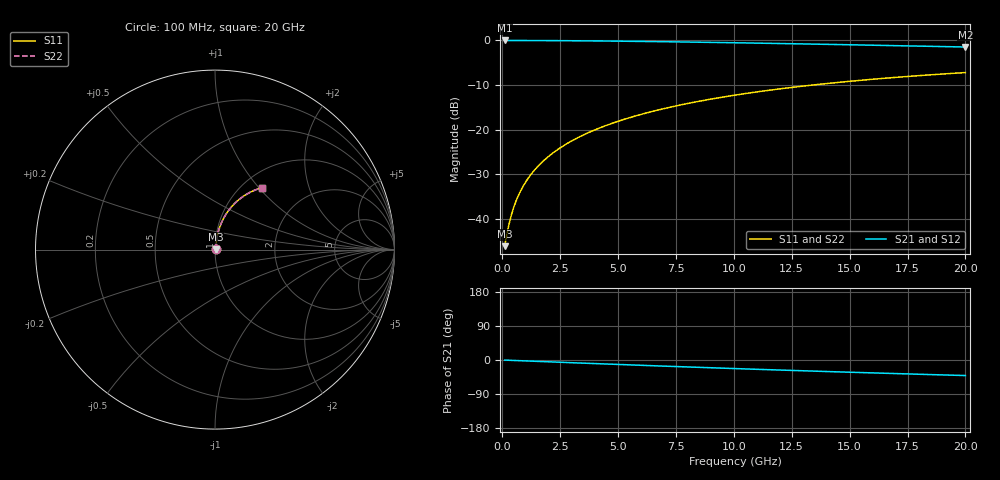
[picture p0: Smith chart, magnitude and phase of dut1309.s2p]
! Touchstone file exported from HFSS 2024.1.0
!  File:  C:/UserFiles/LocalFiles/RDL_TSV_Batchsim/temp_RDL_bottom_1309_1780368494.aedt
!  Generated:  10:50:37 AM Jun  2, 2026
!  Design:  RDL_bottom
!  Project:  temp_RDL_bottom_1309_1780368494
!  Setup:  Setup1
!  Solution:  Sweep
! Variables:
!  dtsv = 10.80580581um
!  hbump = 3um
!  htsv = 78.71um
!  ldown = 555.17um
!  lrdl = 100um
!  p = 40
!  p1 = 44.25um
!  rhole = 1um
!  t = 450um
!  tdown = 3.53um
!  trdl = 3.915915916um
!  wdown = 13.6um
!  wrdl = 20um
# GHz S MA R 50.000000
! Terminal data exported
! Port[1] = RDL1_T1
! Port[2] = RDL1_T2
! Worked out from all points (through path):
!   200 points, 100 MHz to 20 GHz, reference 50 ohm
!   highest |S21| = -0.04 dB at 100 MHz (marker M1); lowest = -1.5 dB at 20 GHz (marker M2)
!   group delay of S21, straight-line fit = 5.69 ps
!   lowest |S11| = -46.1 dB at 100 MHz (marker M3), VSWR 1.01, Z = 50.4 + j0.263 ohm
!   |S11| at or under -10 dB: start of sweep to 13.45 GHz
!   |S22| runs from -46.1 to -7.2 dB; largest |S21 - S12| = 2.6e-15
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0.1  0.004936 32.0  0.9958 -0.2  0.9958 -0.2  0.004936 32.0
! Gamma 0 0 0 0
! Port Impedance 50 0 50 0
0.2  0.006736 50.5  0.9957 -0.5  0.9957 -0.5  0.006736 50.5
0.3  0.008916 60.3  0.9956 -0.7  0.9956 -0.7  0.008917 60.3
0.4  0.01123 66.0  0.9954 -1.0  0.9954 -1.0  0.01123 66.0
0.5  0.01359 69.6  0.9953 -1.2  0.9953 -1.2  0.01359 69.6
0.6  0.01597 72.2  0.9951 -1.5  0.9951 -1.5  0.01597 72.2
0.8  0.02077 75.4  0.9948 -1.9  0.9948 -1.9  0.02077 75.4
1.1  0.02803 78.1  0.9943 -2.7  0.9943 -2.7  0.02803 78.1
1.3  0.0329 79.1  0.9939 -3.1  0.9939 -3.1  0.0329 79.1
1.6  0.04024 80.1  0.9932 -3.8  0.9932 -3.8  0.04024 80.1
2.1  0.05251 80.8  0.9919 -5.0  0.9919 -5.0  0.05251 80.8
2.7  0.06728 80.8  0.9899 -6.5  0.9899 -6.5  0.06728 80.8
3.5  0.08696 80.3  0.9865 -8.3  0.9865 -8.3  0.08696 80.3
4.2  0.1041 79.5  0.9829 -9.9  0.9829 -9.9  0.1042 79.5
5  0.1237 78.4  0.9783 -11.8  0.9783 -11.8  0.1237 78.4
5.9  0.1456 77.0  0.9724 -13.8  0.9724 -13.8  0.1456 77.0
6.8  0.1673 75.6  0.9658 -15.8  0.9658 -15.8  0.1673 75.6
8.3  0.2028 73.0  0.9539 -19.0  0.9539 -19.0  0.2028 73.0
10.1  0.2442 69.8  0.9382 -22.8  0.9382 -22.8  0.2442 69.8
13.4  0.3153 63.8  0.9069 -29.3  0.9069 -29.3  0.3153 63.8
16.7  0.379 58.1  0.874 -35.4  0.874 -35.4  0.3791 58.1
20  0.435 52.6  0.841 -41.0  0.841 -41.0  0.435 52.6
